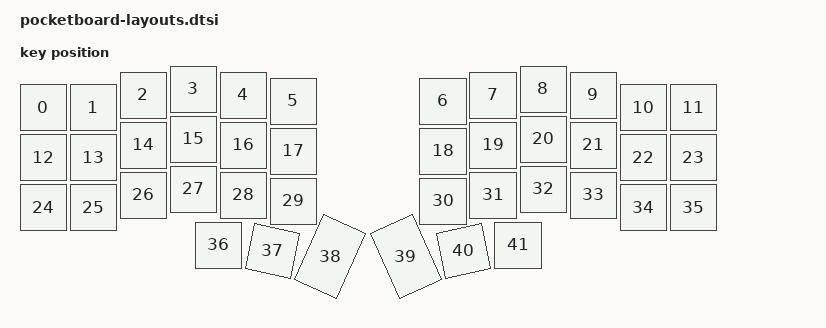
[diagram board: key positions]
#include <physical_layouts.dtsi>

/ {
    physical_layout_pocketboard: physical_layout_pocketboard {
        compatible = "zmk,physical-layout";
        display-name = "PocketBoard";
        keys  //                     w   h    x    y     rot    rx    ry
            = <&key_physical_attrs 100 100    0   37       0     0    37>
            , <&key_physical_attrs 100 100  100   37       0   100    37>
            , <&key_physical_attrs 100 100  200   12       0   200    12>
            , <&key_physical_attrs 100 100  300    0       0   300     0>
            , <&key_physical_attrs 100 100  400   12       0   400    12>
            , <&key_physical_attrs 100 100  500   24       0   500    24>
            , <&key_physical_attrs 100 100  800   24       0   800    24>
            , <&key_physical_attrs 100 100  900   12       0   900    12>
            , <&key_physical_attrs 100 100 1000    0       0  1000     0>
            , <&key_physical_attrs 100 100 1100   12       0  1100    12>
            , <&key_physical_attrs 100 100 1200   37       0  1200    37>
            , <&key_physical_attrs 100 100 1300   37       0  1300    37>
            , <&key_physical_attrs 100 100    0  137       0     0   137>
            , <&key_physical_attrs 100 100  100  137       0   100   137>
            , <&key_physical_attrs 100 100  200  112       0   200   112>
            , <&key_physical_attrs 100 100  300  100       0   300   100>
            , <&key_physical_attrs 100 100  400  112       0   400   112>
            , <&key_physical_attrs 100 100  500  124       0   500   124>
            , <&key_physical_attrs 100 100  800  124       0   800   124>
            , <&key_physical_attrs 100 100  900  112       0   900   112>
            , <&key_physical_attrs 100 100 1000  100       0  1000   100>
            , <&key_physical_attrs 100 100 1100  112       0  1100   112>
            , <&key_physical_attrs 100 100 1200  137       0  1200   137>
            , <&key_physical_attrs 100 100 1300  137       0  1300   137>
            , <&key_physical_attrs 100 100    0  237       0     0   237>
            , <&key_physical_attrs 100 100  100  237       0   100   237>
            , <&key_physical_attrs 100 100  200  212       0   200   212>
            , <&key_physical_attrs 100 100  300  200       0   300   200>
            , <&key_physical_attrs 100 100  400  212       0   400   212>
            , <&key_physical_attrs 100 100  500  224       0   500   224>
            , <&key_physical_attrs 100 100  800  224       0   800   224>
            , <&key_physical_attrs 100 100  900  212       0   900   212>
            , <&key_physical_attrs 100 100 1000  200       0  1000   200>
            , <&key_physical_attrs 100 100 1100  212       0  1100   212>
            , <&key_physical_attrs 100 100 1200  237       0  1200   237>
            , <&key_physical_attrs 100 100 1300  237       0  1300   237>
            , <&key_physical_attrs 100 100  350  312       0   350   312>
            , <&key_physical_attrs 100 100  450  312    1200   450   412>
            , <&key_physical_attrs 100 150  548  283    2400   548   433>
            , <&key_physical_attrs 100 150  752  283 (-2400)   852   433>
            , <&key_physical_attrs 100 100  850  312 (-1200)   950   412>
            , <&key_physical_attrs 100 100  950  312       0   950   312>
            ;
    };
};
